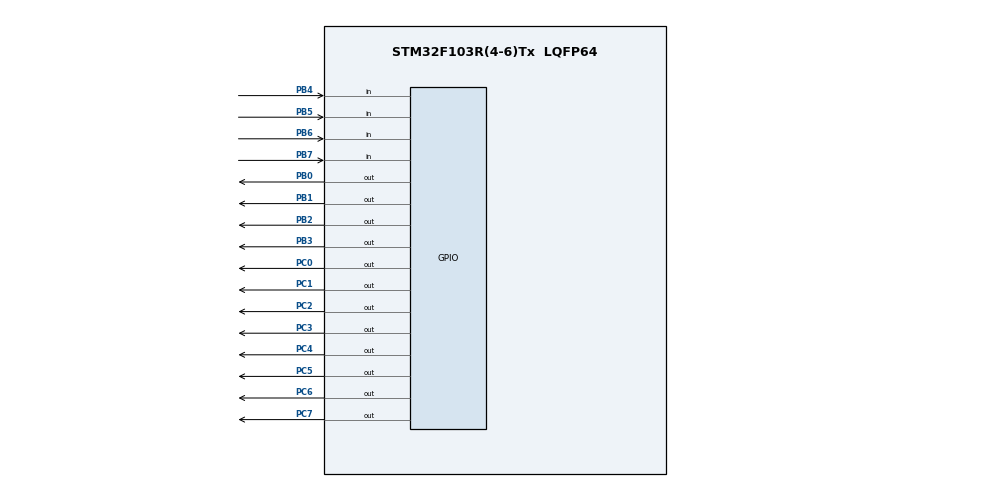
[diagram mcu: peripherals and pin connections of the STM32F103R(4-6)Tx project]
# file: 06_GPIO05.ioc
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Mcu.Family=STM32F1
Mcu.Name=STM32F103R(4-6)Tx
Mcu.Package=LQFP64
NVIC.PriorityGroup=NVIC_PRIORITYGROUP_4
PB0.Signal=GPIO_Output
PB1.Signal=GPIO_Output
PB2.Signal=GPIO_Output
PB3.Signal=GPIO_Output
PB4.Signal=GPIO_Input
PB5.Signal=GPIO_Input
PB6.Signal=GPIO_Input
PB7.Signal=GPIO_Input
PC0.Signal=GPIO_Output
PC1.Signal=GPIO_Output
PC2.Signal=GPIO_Output
PC3.Signal=GPIO_Output
PC4.Signal=GPIO_Output
PC5.Signal=GPIO_Output
PC6.Signal=GPIO_Output
PC7.Signal=GPIO_Output
ProjectManager.HeapSize=0x200
ProjectManager.StackSize=0x400
ProjectManager.TargetToolchain=MDK-ARM V5.32
RCC.APB1Freq_Value=8000000
RCC.APB2Freq_Value=8000000
VP_SYS_VS_ND.Mode=No_Debug
board=custom

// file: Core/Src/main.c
/* USER CODE BEGIN Header */
/**
  ******************************************************************************
  * @file           : main.c
  * @brief          : Main program body
  ******************************************************************************
  * @attention
  *
  * Copyright (c) 2022 STMicroelectronics.
  * All rights reserved.
  *
  * This software is licensed under terms that can be found in the LICENSE file
  * in the root directory of this software component.
  * If no LICENSE file comes with this software, it is provided AS-IS.
  *
  ******************************************************************************
  */
/* USER CODE END Header */
#include "main.h"
#include "gpio.h"

/* USER CODE BEGIN PV */
//共阳极数码管0~f段码
const uint8_t SegmentCodes[]=
{
	0xc0, 0xf9, 0xa4, 0xb0, 0x99,
	0x92, 0x82, 0xf8, 0x80, 0x90,
	0x88, 0x83, 0xc6, 0xa1, 0x86, 0x8e
};
/* USER CODE END PV */

void SystemClock_Config(void);

int main(void)
{
  /* USER CODE BEGIN 1 */
	int8_t i;  //循环变量
	uint8_t KeyValue = 0x10;  //按下的按键
	uint8_t ReadPB;  //读取PB端口的值
  /* USER CODE END 1 */

  /* MCU Configuration--------------------------------------------------------*/

  /* Reset of all peripherals, Initializes the Flash interface and the Systick. */
  HAL_Init();

  /* Configure the system clock */
  SystemClock_Config();

  /* Initialize all configured peripherals */
  MX_GPIO_Init();
  /* USER CODE BEGIN 2 */
	LL_GPIO_WriteOutputPort(GPIOC, 0xff);  //初始化数码管（全灭）
  /* USER CODE END 2 */

  /* Infinite loop */
  /* USER CODE BEGIN WHILE */
  while (1)
  {
		for(i=0;i<4;i++)
		{
			LL_GPIO_WriteOutputPort(GPIOB,(0xfe<<i)|(0xfe>>(8-i)));  //PB0-PB3连接按键行，依次变为低电平
			ReadPB = LL_GPIO_ReadInputPort(GPIOB);  //读取PB端口的值
			if((ReadPB & 0xf0)!=0xf0)
			{
				HAL_Delay(20);  //消抖
				ReadPB = LL_GPIO_ReadInputPort(GPIOB);
				if((ReadPB & 0xf0)!=0xf0)  //与0xf0按位与，看哪一列为低电平
				{
					switch(ReadPB & 0xf0)   //计算键值
					{
						case 0xe0: KeyValue = 4*i; break;    //第i行第0列
						case 0xd0: KeyValue = 4*i+1; break;  //第i行第1列
						case 0xb0: KeyValue = 4*i+2; break;  //第i行第2列
						case 0x70: KeyValue = 4*i+3; break;  //第i行第3列
						default:;
					}
				}
				do
					ReadPB = LL_GPIO_ReadInputPort(GPIOB);
				while((ReadPB & 0xf0)!=0xf0);
				HAL_Delay(20);
			}
		}
		if(KeyValue>=0 && KeyValue<=0xf)   //当键值介于0~15之间时输出到数码管
			LL_GPIO_WriteOutputPort(GPIOC,SegmentCodes[KeyValue]);
    /* USER CODE END WHILE */

  }
}

void SystemClock_Config(void)
{
  RCC_OscInitTypeDef RCC_OscInitStruct = {0};
  RCC_ClkInitTypeDef RCC_ClkInitStruct = {0};

  /** Initializes the RCC Oscillators according to the specified parameters
  * in the RCC_OscInitTypeDef structure.
  */
  RCC_OscInitStruct.OscillatorType = RCC_OSCILLATORTYPE_HSI;
  RCC_OscInitStruct.HSIState = RCC_HSI_ON;
  RCC_OscInitStruct.HSICalibrationValue = RCC_HSICALIBRATION_DEFAULT;
  RCC_OscInitStruct.PLL.PLLState = RCC_PLL_NONE;
  if (HAL_RCC_OscConfig(&RCC_OscInitStruct) != HAL_OK)
  {
    Error_Handler();
  }

  /** Initializes the CPU, AHB and APB buses clocks
  */
  RCC_ClkInitStruct.ClockType = RCC_CLOCKTYPE_HCLK|RCC_CLOCKTYPE_SYSCLK
                              |RCC_CLOCKTYPE_PCLK1|RCC_CLOCKTYPE_PCLK2;
  RCC_ClkInitStruct.SYSCLKSource = RCC_SYSCLKSOURCE_HSI;
  RCC_ClkInitStruct.AHBCLKDivider = RCC_SYSCLK_DIV1;
  RCC_ClkInitStruct.APB1CLKDivider = RCC_HCLK_DIV1;
  RCC_ClkInitStruct.APB2CLKDivider = RCC_HCLK_DIV1;

  if (HAL_RCC_ClockConfig(&RCC_ClkInitStruct, FLASH_LATENCY_0) != HAL_OK)
  {
    Error_Handler();
  }
}

void Error_Handler(void)
{
  __disable_irq();
  while (1)
  {
  }
}
